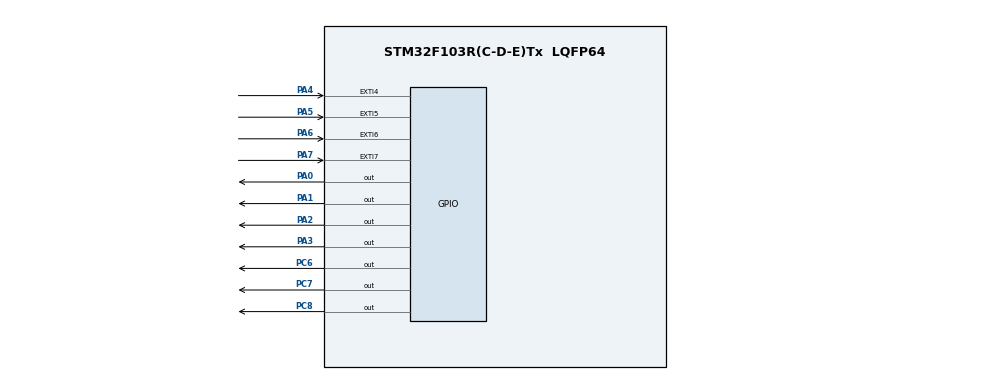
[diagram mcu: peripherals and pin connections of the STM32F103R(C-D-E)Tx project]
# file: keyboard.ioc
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Mcu.Family=STM32F1
Mcu.Name=STM32F103R(C-D-E)Tx
Mcu.Package=LQFP64
NVIC.EXTI4_IRQn=true\:0\:0\:false\:false\:true\:true
NVIC.EXTI9_5_IRQn=true\:0\:0\:false\:false\:true\:true
NVIC.PriorityGroup=NVIC_PRIORITYGROUP_4
PA0-WKUP.Signal=GPIO_Output
PA1.Signal=GPIO_Output
PA13.Mode=Serial_Wire
PA13.Signal=SYS_JTMS-SWDIO
PA14.Mode=Serial_Wire
PA14.Signal=SYS_JTCK-SWCLK
PA2.Signal=GPIO_Output
PA3.Signal=GPIO_Output
PA4.Signal=GPXTI4
PA5.Signal=GPXTI5
PA6.Signal=GPXTI6
PA7.Signal=GPXTI7
PC6.Signal=GPIO_Output
PC7.Signal=GPIO_Output
PC8.Signal=GPIO_Output
ProjectManager.HeapSize=0x200
ProjectManager.StackSize=0x400
ProjectManager.TargetToolchain=MDK-ARM V5
RCC.APB1Freq_Value=8000000
RCC.APB2Freq_Value=8000000
board=custom

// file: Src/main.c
/**
  ******************************************************************************
  * @file           : main.c
  * @brief          : Main program body
  ******************************************************************************
  ** This notice applies to any and all portions of this file
  * that are not between comment pairs USER CODE BEGIN and
  * USER CODE END. Other portions of this file, whether
  * inserted by the user or by software development tools
  * are owned by their respective copyright owners.
  *
  * COPYRIGHT(c) 2019 STMicroelectronics
  *
  * Redistribution and use in source and binary forms, with or without modification,
  * are permitted provided that the following conditions are met:
  *   1. Redistributions of source code must retain the above copyright notice,
  *      this list of conditions and the following disclaimer.
  *   2. Redistributions in binary form must reproduce the above copyright notice,
  *      this list of conditions and the following disclaimer in the documentation
  *      and/or other materials provided with the distribution.
  *   3. Neither the name of STMicroelectronics nor the names of its contributors
  *      may be used to endorse or promote products derived from this software
  *      without specific prior written permission.
  *
  * THIS SOFTWARE IS PROVIDED BY THE COPYRIGHT HOLDERS AND CONTRIBUTORS "AS IS"
  * AND ANY EXPRESS OR IMPLIED WARRANTIES, INCLUDING, BUT NOT LIMITED TO, THE
  * IMPLIED WARRANTIES OF MERCHANTABILITY AND FITNESS FOR A PARTICULAR PURPOSE ARE
  * DISCLAIMED. IN NO EVENT SHALL THE COPYRIGHT HOLDER OR CONTRIBUTORS BE LIABLE
  * FOR ANY DIRECT, INDIRECT, INCIDENTAL, SPECIAL, EXEMPLARY, OR CONSEQUENTIAL
  * DAMAGES (INCLUDING, BUT NOT LIMITED TO, PROCUREMENT OF SUBSTITUTE GOODS OR
  * SERVICES; LOSS OF USE, DATA, OR PROFITS; OR BUSINESS INTERRUPTION) HOWEVER
  * CAUSED AND ON ANY THEORY OF LIABILITY, WHETHER IN CONTRACT, STRICT LIABILITY,
  * OR TORT (INCLUDING NEGLIGENCE OR OTHERWISE) ARISING IN ANY WAY OUT OF THE USE
  * OF THIS SOFTWARE, EVEN IF ADVISED OF THE POSSIBILITY OF SUCH DAMAGE.
  *
  ******************************************************************************
  */
#include "main.h"
#include "stm32f1xx_hal.h"
#include "keyboard.h"

/* USER CODE BEGIN PV */
/* Private variables ---------------------------------------------------------*/

/* USER CODE END PV */

void SystemClock_Config(void);
static void MX_GPIO_Init(void);

/* USER CODE BEGIN PFP */
/* Private function prototypes -----------------------------------------------*/

/* USER CODE END PFP */

/* USER CODE BEGIN 0 */
void HAL_GPIO_EXTI_Callback(uint16_t GPIO_Pin)
{
	/*进入输入模式，确定行
	  进入输出模式，输出列
	  最后确定行和列*/
  char keyval;
	keyval=Get_KeyNum(GPIO_Pin);
	if(keyval == '1'){
		HAL_GPIO_WritePin(GPIOC,GPIO_PIN_6,GPIO_PIN_RESET);
		HAL_GPIO_WritePin(GPIOC,GPIO_PIN_7,GPIO_PIN_RESET);
		HAL_GPIO_WritePin(GPIOC,GPIO_PIN_8,GPIO_PIN_SET);
	}else if(keyval == '2'){
		HAL_GPIO_WritePin(GPIOC,GPIO_PIN_6,GPIO_PIN_SET);
		HAL_GPIO_WritePin(GPIOC,GPIO_PIN_7,GPIO_PIN_RESET);
		HAL_GPIO_WritePin(GPIOC,GPIO_PIN_8,GPIO_PIN_RESET);
	}else if(keyval == '3'){
		HAL_GPIO_WritePin(GPIOC,GPIO_PIN_6,GPIO_PIN_RESET);
		HAL_GPIO_WritePin(GPIOC,GPIO_PIN_7,GPIO_PIN_SET);
		HAL_GPIO_WritePin(GPIOC,GPIO_PIN_8,GPIO_PIN_RESET);
	}else if(keyval == '4'){
		HAL_GPIO_WritePin(GPIOC,GPIO_PIN_6,GPIO_PIN_RESET);
		HAL_GPIO_WritePin(GPIOC,GPIO_PIN_7,GPIO_PIN_SET);
		HAL_GPIO_WritePin(GPIOC,GPIO_PIN_8,GPIO_PIN_SET);
	}

}
/* USER CODE END 0 */

int main(void)
{

  /* MCU Configuration----------------------------------------------------------*/

  /* Reset of all peripherals, Initializes the Flash interface and the Systick. */
  HAL_Init();

  /* USER CODE BEGIN Init */
  /*
	进入中断模式，A4-7行，作为4个中断源
	              A
	*/
	Key_Bord_Init();
  /* USER CODE END Init */

  /* Configure the system clock */
  SystemClock_Config();

  /* Initialize all configured peripherals */
  MX_GPIO_Init();

  /* Infinite loop */
  while (1)
  {

  }

}

void SystemClock_Config(void)
{

  RCC_OscInitTypeDef RCC_OscInitStruct;
  RCC_ClkInitTypeDef RCC_ClkInitStruct;

    /**Initializes the CPU, AHB and APB busses clocks
    */
  RCC_OscInitStruct.OscillatorType = RCC_OSCILLATORTYPE_HSI;
  RCC_OscInitStruct.HSIState = RCC_HSI_ON;
  RCC_OscInitStruct.HSICalibrationValue = 16;
  RCC_OscInitStruct.PLL.PLLState = RCC_PLL_NONE;
  if (HAL_RCC_OscConfig(&RCC_OscInitStruct) != HAL_OK)
  {
    _Error_Handler(__FILE__, __LINE__);
  }

    /**Initializes the CPU, AHB and APB busses clocks
    */
  RCC_ClkInitStruct.ClockType = RCC_CLOCKTYPE_HCLK|RCC_CLOCKTYPE_SYSCLK
                              |RCC_CLOCKTYPE_PCLK1|RCC_CLOCKTYPE_PCLK2;
  RCC_ClkInitStruct.SYSCLKSource = RCC_SYSCLKSOURCE_HSI;
  RCC_ClkInitStruct.AHBCLKDivider = RCC_SYSCLK_DIV1;
  RCC_ClkInitStruct.APB1CLKDivider = RCC_HCLK_DIV1;
  RCC_ClkInitStruct.APB2CLKDivider = RCC_HCLK_DIV1;

  if (HAL_RCC_ClockConfig(&RCC_ClkInitStruct, FLASH_LATENCY_0) != HAL_OK)
  {
    _Error_Handler(__FILE__, __LINE__);
  }

    /**Configure the Systick interrupt time
    */
  HAL_SYSTICK_Config(HAL_RCC_GetHCLKFreq()/1000);

    /**Configure the Systick
    */
  HAL_SYSTICK_CLKSourceConfig(SYSTICK_CLKSOURCE_HCLK);

  /* SysTick_IRQn interrupt configuration */
  HAL_NVIC_SetPriority(SysTick_IRQn, 0, 0);
}

/** Configure pins as
        * Analog
        * Input
        * Output
        * EVENT_OUT
        * EXTI
*/
static void MX_GPIO_Init(void)
{

  GPIO_InitTypeDef GPIO_InitStruct;

  /* GPIO Ports Clock Enable */
  __HAL_RCC_GPIOA_CLK_ENABLE();
  __HAL_RCC_GPIOC_CLK_ENABLE();

  /*Configure GPIO pin Output Level */
  HAL_GPIO_WritePin(GPIOA, GPIO_PIN_0|GPIO_PIN_1|GPIO_PIN_2|GPIO_PIN_3, GPIO_PIN_RESET);

  /*Configure GPIO pin Output Level */
  HAL_GPIO_WritePin(GPIOC, GPIO_PIN_6|GPIO_PIN_7|GPIO_PIN_8, GPIO_PIN_RESET);

  /*Configure GPIO pins : PA0 PA1 PA2 PA3 */
  GPIO_InitStruct.Pin = GPIO_PIN_0|GPIO_PIN_1|GPIO_PIN_2|GPIO_PIN_3;
  GPIO_InitStruct.Mode = GPIO_MODE_OUTPUT_PP;
  GPIO_InitStruct.Pull = GPIO_NOPULL;
  GPIO_InitStruct.Speed = GPIO_SPEED_FREQ_LOW;
  HAL_GPIO_Init(GPIOA, &GPIO_InitStruct);

  /*Configure GPIO pins : PA4 PA5 PA6 PA7 */
  GPIO_InitStruct.Pin = GPIO_PIN_4|GPIO_PIN_5|GPIO_PIN_6|GPIO_PIN_7;
  GPIO_InitStruct.Mode = GPIO_MODE_IT_RISING;
  GPIO_InitStruct.Pull = GPIO_NOPULL;
  HAL_GPIO_Init(GPIOA, &GPIO_InitStruct);

  /*Configure GPIO pins : PC6 PC7 PC8 */
  GPIO_InitStruct.Pin = GPIO_PIN_6|GPIO_PIN_7|GPIO_PIN_8;
  GPIO_InitStruct.Mode = GPIO_MODE_OUTPUT_PP;
  GPIO_InitStruct.Pull = GPIO_NOPULL;
  GPIO_InitStruct.Speed = GPIO_SPEED_FREQ_LOW;
  HAL_GPIO_Init(GPIOC, &GPIO_InitStruct);

  /* EXTI interrupt init*/
  HAL_NVIC_SetPriority(EXTI4_IRQn, 0, 0);
  HAL_NVIC_EnableIRQ(EXTI4_IRQn);

  HAL_NVIC_SetPriority(EXTI9_5_IRQn, 0, 0);
  HAL_NVIC_EnableIRQ(EXTI9_5_IRQn);

}

void _Error_Handler(char *file, int line)
{
  while(1)
  {
  }
}

/************************ (C) COPYRIGHT STMicroelectronics *****END OF FILE****/
